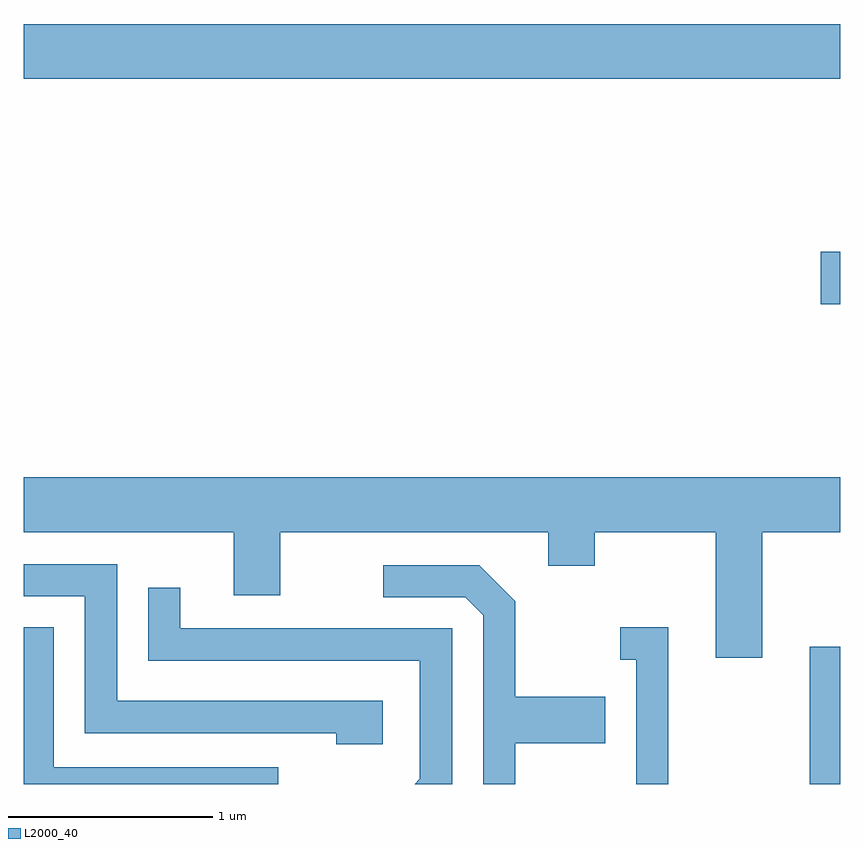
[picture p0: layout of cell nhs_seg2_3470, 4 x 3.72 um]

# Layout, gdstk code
import gdstk
lib = gdstk.Library(unit=1e-6, precision=1e-09)
def R(c, l, rs):  # rectangles x0, y0, x1, y1
    for r in rs: c.add(gdstk.rectangle(r[:2], r[2:], *l))
def P(c, l, *ps):  # polygons
    for p in ps: c.add(gdstk.Polygon(p, *l))
L2000_40 = (2000, 40)

nhs_seg2_3470 = lib.new_cell('nhs_seg2_3470')
R(nhs_seg2_3470, L2000_40, [(291.461,993.802,291.611,994.474), (291.516,996.151,291.611,996.409), (287.611,997.256,291.611,997.524)])
P(nhs_seg2_3470, L2000_40, [(291.229,995.036),(291.611,995.036),(291.611,995.304),(287.611,995.304),(287.611,995.036),(288.641,995.036),(288.641,994.726),(288.869,994.726),(288.869,995.036),(290.181,995.036),(290.181,994.871),(290.409,994.871),(290.409,995.036),(291.001,995.036),(291.001,994.421),(291.229,994.421)],
  [(289.369,994.209),(288.069,994.209),(288.069,994.879),(287.611,994.879),(287.611,994.721),(287.911,994.721),(287.911,994.051),(289.141,994.051),(289.141,993.996),(289.369,993.996)],
  [(290.019,994.001),(290.459,994.001),(290.459,994.229),(290.019,994.229),(290.019,994.697),(289.842,994.874),(289.373,994.874),(289.373,994.716),(289.774,994.716),(289.861,994.629),(289.861,993.802),(290.019,993.802)],
  [(289.709,994.564),(288.379,994.564),(288.379,994.763),(288.221,994.763),(288.221,994.406),(289.551,994.406),(289.551,993.827),(289.526,993.802),(289.709,993.802)],
  [(288.858,993.884),(287.759,993.884),(287.759,994.569),(287.611,994.569),(287.611,993.802),(288.858,993.802)],
  [(290.769,994.569),(290.533,994.569),(290.533,994.411),(290.611,994.411),(290.611,993.802),(290.769,993.802)])

lib.write_gds('nhs_seg2_3470.gds')
